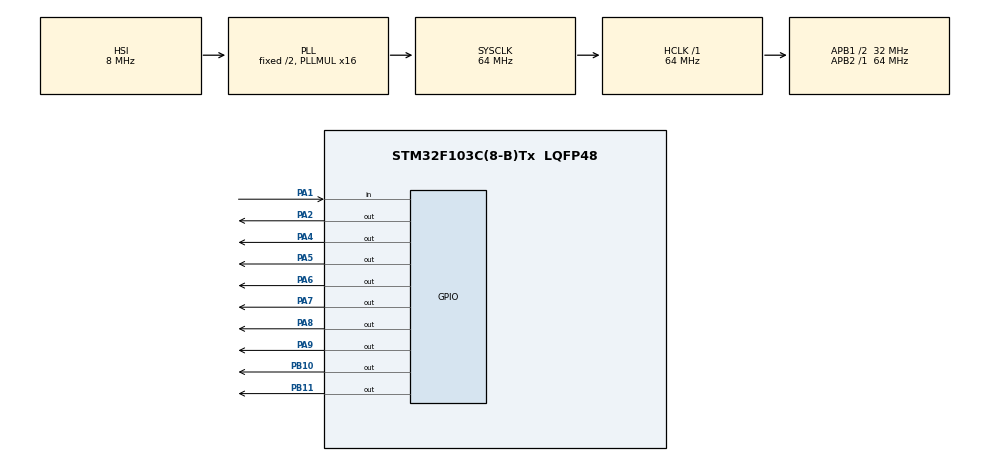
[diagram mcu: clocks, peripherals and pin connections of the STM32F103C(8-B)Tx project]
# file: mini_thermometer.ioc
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Mcu.Family=STM32F1
Mcu.Name=STM32F103C(8-B)Tx
Mcu.Package=LQFP48
NVIC.PriorityGroup=NVIC_PRIORITYGROUP_4
PA1.Signal=GPIO_Input
PA13.Mode=Serial_Wire
PA13.Signal=SYS_JTMS-SWDIO
PA14.Mode=Serial_Wire
PA14.Signal=SYS_JTCK-SWCLK
PA2.Signal=GPIO_Output
PA4.Signal=GPIO_Output
PA5.Signal=GPIO_Output
PA6.Signal=GPIO_Output
PA7.Signal=GPIO_Output
PA8.Signal=GPIO_Output
PA9.Signal=GPIO_Output
PB10.Signal=GPIO_Output
PB11.Signal=GPIO_Output
ProjectManager.HeapSize=0x200
ProjectManager.StackSize=0x400
ProjectManager.TargetToolchain=EWARM V8.32
RCC.AHBFreq_Value=64000000
RCC.APB1CLKDivider=RCC_HCLK_DIV2
RCC.APB1Freq_Value=32000000
RCC.APB1TimFreq_Value=64000000
RCC.APB2Freq_Value=64000000
RCC.APB2TimFreq_Value=64000000
RCC.HCLKFreq_Value=64000000
RCC.PLLMUL=RCC_PLL_MUL16
RCC.SYSCLKFreq_VALUE=64000000
RCC.SYSCLKSource=RCC_SYSCLKSOURCE_PLLCLK
RCC.USBFreq_Value=64000000
TIM2.Prescaler=63
VP_TIM2_VS_ClockSourceINT.Mode=Internal
board=custom

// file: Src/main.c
/* USER CODE BEGIN Header */
/**
 ******************************************************************************
 * @file           : main.c
 * @brief          : Main program body
 ******************************************************************************
 * @attention
 *
 * Copyright (c) 2026 STMicroelectronics.
 * All rights reserved.
 *
 * This software is licensed under terms that can be found in the LICENSE file
 * in the root directory of this software component.
 * If no LICENSE file comes with this software, it is provided AS-IS.
 *
 ******************************************************************************
 */
/* USER CODE END Header */
#include "main.h"

/* USER CODE BEGIN Includes */
#include "my_LCD.h"
#include "my_DHT11.h"
#include "my_Timer.h"
#include "stdio.h"
/* USER CODE END Includes */

TIM_HandleTypeDef htim2;

/* USER CODE BEGIN PV */

// Create my_LCD
LCD my_LCD;
DHT11 my_dht11;

uint8_t i_humidity = 0;
uint8_t f_humidity = 0;
uint8_t i_temperature = 0;
uint8_t f_temperature = 0;
uint8_t checksum = 0;

char buffer1[16];
char buffer2[16];
/* USER CODE END PV */

void SystemClock_Config(void);
static void MX_GPIO_Init(void);
static void MX_TIM2_Init(void);

int main(void)
{

  /* MCU Configuration--------------------------------------------------------*/

  /* Reset of all peripherals, Initializes the Flash interface and the Systick. */
  HAL_Init();

  /* Configure the system clock */
  SystemClock_Config();

  /* Initialize all configured peripherals */
  MX_GPIO_Init();
  MX_TIM2_Init();
  /* USER CODE BEGIN 2 */
  HAL_TIM_Base_Start(&htim2);

  // assign pin & port for LCD
  my_LCD.DATA_PORT = GPIOA;
  my_LCD.DATA_PINS[0] = GPIO_PIN_4;
  my_LCD.DATA_PINS[1] = GPIO_PIN_5;
  my_LCD.DATA_PINS[2] = GPIO_PIN_6;
  my_LCD.DATA_PINS[3] = GPIO_PIN_7;
  my_LCD.E_PORT = GPIOB;
  my_LCD.E_Pin = GPIO_PIN_10;
  my_LCD.RS_PORT = GPIOB;
  my_LCD.RS_Pin = GPIO_PIN_11;

  // assign pin & port for DHT11
  my_dht11.DATA_PORT = GPIOA;
  my_dht11.Data_Pin = GPIO_PIN_10;

  LCD_init(&my_LCD);
  /* USER CODE END 2 */

  /* Infinite loop */
  while (1)
  {

    /* USER CODE BEGIN 3 */

    if (DHT11_start(&my_dht11) == 1)
    {
      i_humidity = DHT11_read_byte(&my_dht11);
      f_humidity = DHT11_read_byte(&my_dht11);
      i_temperature = DHT11_read_byte(&my_dht11);
      f_temperature = DHT11_read_byte(&my_dht11);
      checksum = DHT11_read_byte(&my_dht11);

      sprintf(buffer1, "H: %d.%d %%", i_humidity, f_humidity);
      sprintf(buffer2, "T: %d.%d C", i_temperature, f_temperature);
      LCD_go_to_xy(&my_LCD, 0, 0);
      LCD_print_buffer(&my_LCD, buffer1);
      LCD_go_to_xy(&my_LCD, 0, 1);
      LCD_print_buffer(&my_LCD, buffer2);
    }
    else
    {

    }
    delay_ms(2000);
  }
  /* USER CODE END 3 */
}

void SystemClock_Config(void)
{
  RCC_OscInitTypeDef RCC_OscInitStruct = {0};
  RCC_ClkInitTypeDef RCC_ClkInitStruct = {0};

  /** Initializes the RCC Oscillators according to the specified parameters
   * in the RCC_OscInitTypeDef structure.
   */
  RCC_OscInitStruct.OscillatorType = RCC_OSCILLATORTYPE_HSI;
  RCC_OscInitStruct.HSIState = RCC_HSI_ON;
  RCC_OscInitStruct.HSICalibrationValue = RCC_HSICALIBRATION_DEFAULT;
  RCC_OscInitStruct.PLL.PLLState = RCC_PLL_ON;
  RCC_OscInitStruct.PLL.PLLSource = RCC_PLLSOURCE_HSI_DIV2;
  RCC_OscInitStruct.PLL.PLLMUL = RCC_PLL_MUL16;
  if (HAL_RCC_OscConfig(&RCC_OscInitStruct) != HAL_OK)
  {
    Error_Handler();
  }

  /** Initializes the CPU, AHB and APB buses clocks
   */
  RCC_ClkInitStruct.ClockType = RCC_CLOCKTYPE_HCLK | RCC_CLOCKTYPE_SYSCLK | RCC_CLOCKTYPE_PCLK1 | RCC_CLOCKTYPE_PCLK2;
  RCC_ClkInitStruct.SYSCLKSource = RCC_SYSCLKSOURCE_PLLCLK;
  RCC_ClkInitStruct.AHBCLKDivider = RCC_SYSCLK_DIV1;
  RCC_ClkInitStruct.APB1CLKDivider = RCC_HCLK_DIV2;
  RCC_ClkInitStruct.APB2CLKDivider = RCC_HCLK_DIV1;

  if (HAL_RCC_ClockConfig(&RCC_ClkInitStruct, FLASH_LATENCY_2) != HAL_OK)
  {
    Error_Handler();
  }
}

static void MX_TIM2_Init(void)
{

  TIM_ClockConfigTypeDef sClockSourceConfig = {0};
  TIM_MasterConfigTypeDef sMasterConfig = {0};

  htim2.Instance = TIM2;
  htim2.Init.Prescaler = 63;
  htim2.Init.CounterMode = TIM_COUNTERMODE_UP;
  htim2.Init.Period = 65535;
  htim2.Init.ClockDivision = TIM_CLOCKDIVISION_DIV1;
  htim2.Init.AutoReloadPreload = TIM_AUTORELOAD_PRELOAD_DISABLE;
  if (HAL_TIM_Base_Init(&htim2) != HAL_OK)
  {
    Error_Handler();
  }
  sClockSourceConfig.ClockSource = TIM_CLOCKSOURCE_INTERNAL;
  if (HAL_TIM_ConfigClockSource(&htim2, &sClockSourceConfig) != HAL_OK)
  {
    Error_Handler();
  }
  sMasterConfig.MasterOutputTrigger = TIM_TRGO_RESET;
  sMasterConfig.MasterSlaveMode = TIM_MASTERSLAVEMODE_DISABLE;
  if (HAL_TIMEx_MasterConfigSynchronization(&htim2, &sMasterConfig) != HAL_OK)
  {
    Error_Handler();
  }
}

static void MX_GPIO_Init(void)
{
  GPIO_InitTypeDef GPIO_InitStruct = {0};

  /* GPIO Ports Clock Enable */
  __HAL_RCC_GPIOA_CLK_ENABLE();
  __HAL_RCC_GPIOB_CLK_ENABLE();

  /*Configure GPIO pin Output Level */
  HAL_GPIO_WritePin(GPIOA, GPIO_PIN_2 | GPIO_PIN_4 | GPIO_PIN_5 | GPIO_PIN_6 | GPIO_PIN_7 | GPIO_PIN_8 | GPIO_PIN_9, GPIO_PIN_RESET);

  /*Configure GPIO pin Output Level */
  HAL_GPIO_WritePin(GPIOB, GPIO_PIN_10 | GPIO_PIN_11, GPIO_PIN_RESET);

  /*Configure GPIO pin : PA1 */
  GPIO_InitStruct.Pin = GPIO_PIN_1;
  GPIO_InitStruct.Mode = GPIO_MODE_INPUT;
  GPIO_InitStruct.Pull = GPIO_NOPULL;
  HAL_GPIO_Init(GPIOA, &GPIO_InitStruct);

  /*Configure GPIO pins : PA2 PA4 PA5 PA6
                           PA7 PA8 PA9 */
  GPIO_InitStruct.Pin = GPIO_PIN_2 | GPIO_PIN_4 | GPIO_PIN_5 | GPIO_PIN_6 | GPIO_PIN_7 | GPIO_PIN_8 | GPIO_PIN_9;
  GPIO_InitStruct.Mode = GPIO_MODE_OUTPUT_PP;
  GPIO_InitStruct.Pull = GPIO_NOPULL;
  GPIO_InitStruct.Speed = GPIO_SPEED_FREQ_LOW;
  HAL_GPIO_Init(GPIOA, &GPIO_InitStruct);

  /*Configure GPIO pins : PB10 PB11 */
  GPIO_InitStruct.Pin = GPIO_PIN_10 | GPIO_PIN_11;
  GPIO_InitStruct.Mode = GPIO_MODE_OUTPUT_PP;
  GPIO_InitStruct.Pull = GPIO_NOPULL;
  GPIO_InitStruct.Speed = GPIO_SPEED_FREQ_LOW;
  HAL_GPIO_Init(GPIOB, &GPIO_InitStruct);

}

void Error_Handler(void)
{
  __disable_irq();
  while (1)
  {
  }
}
